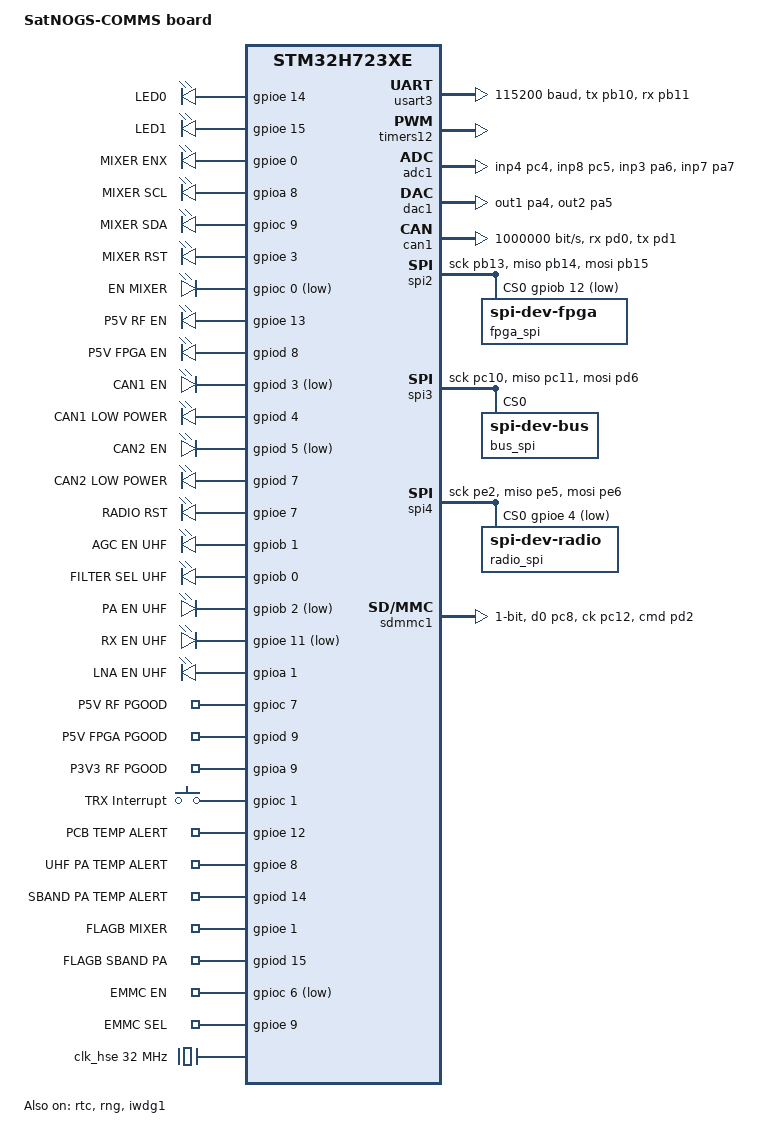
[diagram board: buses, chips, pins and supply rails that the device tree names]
/*
 *  SatNOGS-COMMS MCU software
 *
 *  Copyright (C) 2022, Libre Space Foundation <http: //libre.space>
 *
 *  This program is free software: you can redistribute it and/or modify
 *  it under the terms of the GNU General Public License as published by
 *  the Free Software Foundation, either version 3 of the License, or
 *  (at your option) any later version.
 *
 *  This program is distributed in the hope that it will be useful,
  *  but WITHOUT ANY WARRANTY; without even the implied warranty of
  *  MERCHANTABILITY or FITNESS FOR A PARTICULAR PURPOSE.  See the
  *  GNU General Public License for more details.
  *
  *  You should have received a copy of the GNU General Public License
  *  along with this program.  If not, see <http: //www.gnu.org/licenses/>.
  *
  *  SPDX-License-Identifier: GNU General Public License v3.0 or later
  */

 /dts-v1/;
#include <st/h7/stm32h723Xe.dtsi>
#include <st/h7/stm32h723vetx-pinctrl.dtsi>


/ {
    model = "SatNOGS-COMMS board";
    compatible = "lsf,satnogs";

    chosen {
        zephyr,console = &usart3;
        zephyr,shell-uart = &usart3;
        zephyr,sram = &sram0;
        zephyr,flash = &flash0;
        zephyr,dtcm = &dtcm;
        zephyr,code-partition = &slot0_partition;
        zephyr,canbus = &can1;
    };

    leds {
        compatible = "gpio-leds";
        pe14_led: led_0 {
            gpios = <&gpioe 14 GPIO_ACTIVE_HIGH>;
            label = "LED0";
        };
        pe15_led: led_1 {
            gpios = <&gpioe 15 GPIO_ACTIVE_HIGH>;
            label = "LED1";
        };

        /* Enables the RF mixer digital interface. Set to active high as the driver uses the raw output as input */
        mixer_enx: mixer_enx {
            gpios = <&gpioe 0 GPIO_ACTIVE_HIGH>;
            label = "MIXER ENX";
        };

        /* Clock for the RF mixer digital interface */
        mixer_scl: mixer_scl {
            gpios = <&gpioa 8 GPIO_ACTIVE_HIGH>;
            label = "MIXER SCL";
        };

        mixer_sda: mixer_sda {
            gpios = <&gpioc 9 GPIO_ACTIVE_HIGH>;
            label = "MIXER SDA";
        };

        /* RF mixer reset. Set to active high as the driver uses the raw output as input */
        mixer_rst: mixer_rst {
            gpios = <&gpioe 3 GPIO_ACTIVE_HIGH>;
            label = "MIXER RST";
        };

        /* Enables the load switch of the RF mixer */
        mixer_en: mixer_en {
            gpios = <&gpioc 0 GPIO_ACTIVE_LOW>;
            label = "EN MIXER";
        };

        p5v_rf_en: p5v_rf_en {
            gpios = <&gpioe 13 GPIO_ACTIVE_HIGH>;
            label = "P5V RF EN";
        };

        p5v_fpga_en: p5v_fpga_en {
            gpios = <&gpiod 8 GPIO_ACTIVE_HIGH>;
            label = "P5V FPGA EN";
        };

        can1_en: can1_en {
            gpios = <&gpiod 3 (GPIO_ACTIVE_LOW | GPIO_PUSH_PULL)>;
            label = "CAN1 EN";
        };

        can1_low_pwr: can1_low_pwr {
            gpios = <&gpiod 4 GPIO_ACTIVE_HIGH>;
            label = "CAN1 LOW POWER";
        };

        can2_en: can2_en {
            gpios = <&gpiod 5 (GPIO_ACTIVE_LOW | GPIO_PUSH_PULL)>;
            label = "CAN2 EN";
        };

        can2_low_pwr: can2_low_pwr {
            gpios = <&gpiod 7 GPIO_ACTIVE_HIGH>;
            label = "CAN2 LOW POWER";
        };

        /* The AT86RF215 driver uses a "raw" logic rather than logical */
        radio_rst: radio_rst {
            gpios = <&gpioe 7 GPIO_ACTIVE_HIGH>;
            label = "RADIO RST";
        };

        en_agc_uhf: en_agc_uhf {
            gpios = <&gpiob 1 GPIO_ACTIVE_HIGH>;
            label = "AGC EN UHF";
        };

        flt_sel_uhf: flt_sel_uhf {
            gpios = <&gpiob 0 GPIO_ACTIVE_HIGH>;
            label = "FILTER SEL UHF";
        };

        en_pa_uhf: en_pa_uhf {
            gpios = <&gpiob 2 GPIO_ACTIVE_LOW>;
            label = "PA EN UHF";
        };

        en_rx_uhf: en_rx_uhf {
            gpios = <&gpioe 11 GPIO_ACTIVE_LOW>;
            label = "RX EN UHF";
        };

        en_amp_uhf: en_amp_uhf {
            gpios = <&gpioa 1 GPIO_ACTIVE_HIGH>;
            label = "LNA EN UHF";
        };
    };

    gpio_keys {
        compatible = "gpio-keys";
        p5v_rf_pg: p5v_rf_pg {
            label = "P5V RF PGOOD";
            gpios = <&gpioc 7 (GPIO_ACTIVE_HIGH | GPIO_PULL_UP)>;
        };

        p5v_fpga_pg: p5v_fpga_pg {
            label = "P5V FPGA PGOOD";
            gpios = <&gpiod 9 (GPIO_ACTIVE_HIGH | GPIO_PULL_UP)>;
        };

        p3v3_rf_pg: p3v3_rf_pg {
            label = "P3V3 RF PGOOD";
            gpios = <&gpioa 9 (GPIO_ACTIVE_HIGH | GPIO_PULL_UP)>;
        };

        radio_trx_irq: radio_trx_irq {
            label = "TRX Interrupt";
            gpios = <&gpioc 1 (GPIO_ACTIVE_HIGH | GPIO_PULL_DOWN)>;
        };

        alert_pcb_temp: alert_pcb_temp {
            label = "PCB TEMP ALERT";
            gpios = <&gpioe 12 (GPIO_ACTIVE_HIGH | GPIO_PULL_UP)>;
        };

        alert_uhf_pa_temp: alert_uhf_pa_temp {
            label = "UHF PA TEMP ALERT";
            gpios = <&gpioe 8 (GPIO_ACTIVE_HIGH | GPIO_PULL_UP)>;
        };

        alert_sband_pa_temp: alert_sband_pa_temp {
            label = "SBAND PA TEMP ALERT";
            gpios = <&gpiod 14 (GPIO_ACTIVE_HIGH | GPIO_PULL_UP)>;
        };

        flagb_mixer: flagb_mixer {
            label = "FLAGB MIXER";
            gpios = <&gpioe 1 (GPIO_ACTIVE_HIGH | GPIO_PULL_UP)>;
        };

        flagb_sband_pa: flagb_sband_pa {
            label = "FLAGB SBAND PA";
            gpios = <&gpiod 15 (GPIO_ACTIVE_HIGH | GPIO_PULL_UP)>;
        };

        emmc_en: emmc_en {
            label = "EMMC EN";
            gpios = <&gpioc 6 (GPIO_ACTIVE_LOW | GPIO_PULL_UP)>;
        };

        emmc_sel: emmc_sel {
            label = "EMMC SEL";
            gpios = <&gpioe 9 (GPIO_ACTIVE_HIGH | GPIO_PULL_UP)>;
        };
    };

    aliases {
        led0 = &pe14_led;
        led1 = &pe15_led;
    };
};


/* HSI operates on 64 MHz */
&clk_hsi {
    hsi-div = <1>;
    status = "okay";
};

&clk_hse {
    hse-bypass;
    clock-frequency = <DT_FREQ_M(32)>;
    status = "okay";
};

/* 136 MHz */
&pll {
    div-m = <2>;
    mul-n = <18>;
    div-p = <1>;
    div-q = <4>;
    div-r = <2>;
    clocks = <&clk_hse>;
    status = "okay";
};

/* 288 MHz */
&rcc {
    clocks = <&pll>;
    d1cpre = <1>;
    clock-frequency = <DT_FREQ_M(288)>;
    hpre = <2>;
    d1ppre = <2>;
    d2ppre1 = <2>;
    d2ppre2 = <2>;
    d3ppre = <2>;
};

&usart3 {
    pinctrl-0 = <&usart3_tx_pb10 &usart3_rx_pb11>;
    pinctrl-names = "default";
    current-speed = <115200>;
    status = "okay";
};

&rtc {
    status = "okay";
};

/* Generic I2C through the PC104 */
// &i2c2 {
//     timings = <72000000 I2C_BITRATE_STANDARD 0x10808DD3>;
//     pinctrl-0 = <&i2c2_scl_pb10 &i2c2_sda_pb11>;
//     pinctrl-names = "default";
//     status = "okay";
//     clock-frequency = <I2C_BITRATE_STANDARD>;
// };

&timers12 {
    st,prescaler = <10000>;
    status = "okay";

    pwm12: pwm {
        status = "okay";
        pinctrl-0 = <&tim12_ch1_pb14>;
        pinctrl-names = "default";
    };
};

&adc1 {
    pinctrl-0 = <&adc1_inp4_pc4 &adc1_inp8_pc5 &adc1_inp3_pa6 &adc1_inp7_pa7>;
    pinctrl-names = "default";
    status = "okay";
};

&dac1 {
    status = "okay";
    pinctrl-0 = <&dac1_out1_pa4 &dac1_out2_pa5>;
    pinctrl-names = "default";
};

/* Necessary for the RNG */
&clk_hsi48 {
    status = "okay";
};

&rng {
    status = "okay";
};

&can1 {
    pinctrl-0 = <&fdcan1_rx_pd0 &fdcan1_tx_pd1>;
    pinctrl-names = "default";
    bus-speed = <1000000>;
    bus-speed-data = <1000000>;
    status = "okay";
};

/* FPGA SPI bus */
&spi2 {
    status = "okay";
    pinctrl-0 = <&spi2_sck_pb13 &spi2_miso_pb14 &spi2_mosi_pb15>;
    pinctrl-names = "default";
    cs-gpios = <&gpiob 12 (GPIO_ACTIVE_LOW | GPIO_PULL_UP)>;

    fpga_spi: spi-dev-fpga@0 {
        reg = <0>;
    };
};

/* Generic SPI through the PC104 */
&spi3 {
    status = "okay";
    pinctrl-0 = <&spi3_sck_pc10 &spi3_miso_pc11 &spi3_mosi_pd6>;
    pinctrl-names = "default";

    bus_spi: spi-dev-bus@0 {
        reg = <0>;
    };
};

/* Radio SPI */
&spi4 {
    status = "okay";
    pinctrl-0 = <&spi4_sck_pe2 &spi4_miso_pe5 &spi4_mosi_pe6>;
    pinctrl-names = "default";
    cs-gpios = <&gpioe 4 (GPIO_ACTIVE_LOW | GPIO_PULL_UP)>;

    radio_spi: spi-dev-radio@0 {
        reg = <0>;
    };
};

&backup_sram {
    status = "okay";
};

&sdmmc1 {
    bus-width = <1>;
    status = "okay";
    pinctrl-0 = <&sdmmc1_d0_pc8 &sdmmc1_ck_pc12 &sdmmc1_cmd_pd2>;
    pinctrl-names = "default";
};


&flash0 {
    partitions {
        compatible = "fixed-partitions";
        #address-cells = <1>;
        #size-cells = <1>;

        /* 64KB for bootloader */
        boot_partition: partition@0 {
            label = "mcuboot";
            reg = <0x00000000 DT_SIZE_K(128)>;
            read-only;
        };

        /* application image slot: 192KB */
        slot0_partition: partition@20000{
            label = "image-0";
            reg = <0x00020000 DT_SIZE_K(128)>;
        };

        /* backup slot: 192KB */
        slot1_partition: partition@40000 {
            label = "image-1";
            reg = <0x00040000  DT_SIZE_K(128)>;
        };

        /* swap slot: 128KB */
        scratch_partition: partition@60000 {
            label = "image-scratch";
            reg = <0x00060000 DT_SIZE_K(128)>;
        };

    };
};

&iwdg1 {
    status = "okay";
};


        // /* 64KB for bootloader */
        // boot_partition: partition@0 {
        //     label = "mcuboot";
        //     reg = <0x00000000 DT_SIZE_K(128)>;
        //     read-only;
        // };

        // /* application image slot: 192KB */
        // slot0_partition: partition@20000{
        //     label = "image-0";
        //     reg = <0x00020000 DT_SIZE_K(256)>;
        // };

        // /* backup slot: 192KB */
        // slot1_partition: partition@60000 {
        //     label = "image-1";
        //     reg = <0x00060000  DT_SIZE_K(256)>;
        // };

        // /* storage: 32KB for settings */
        // storage_partition: partition@10000 {
        //     label = "storage";
        //     reg = <0x00010000 DT_SIZE_K(32)>;
        // };


// &flash0 {
//     partitions {
//         compatible = "fixed-partitions";
//         #address-cells = <1>;
//         #size-cells = <1>;

//         /* 64KB for bootloader */
//         boot_partition: partition@0 {
//             label = "mcuboot";
//             reg = <0x00000000 DT_SIZE_K(64)>;
//             read-only;
//         };

//         /* application image slot: 192KB */
//         slot0_partition: partition@10000 {
//             label = "image-0";
//             reg = <0x00010000 DT_SIZE_K(192)>;
//         };

//         /* backup slot: 192KB */
//         slot1_partition: partition@40000 {
//             label = "image-1";
//             reg = <0x00040000 DT_SIZE_K(192)>;
//         };

//         /* swap slot: 128KB */
//         scratch_partition: partition@70000 {
//             label = "image-scratch";
//             reg = <0x00070000 DT_SIZE_K(32)>;
//         };

//         /* storage: 32KB for settings */
//         storage_partition: partition@78000 {
//             label = "storage";
//             reg = <0x00078000 DT_SIZE_K(32)>;
//         };

//     };
// };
